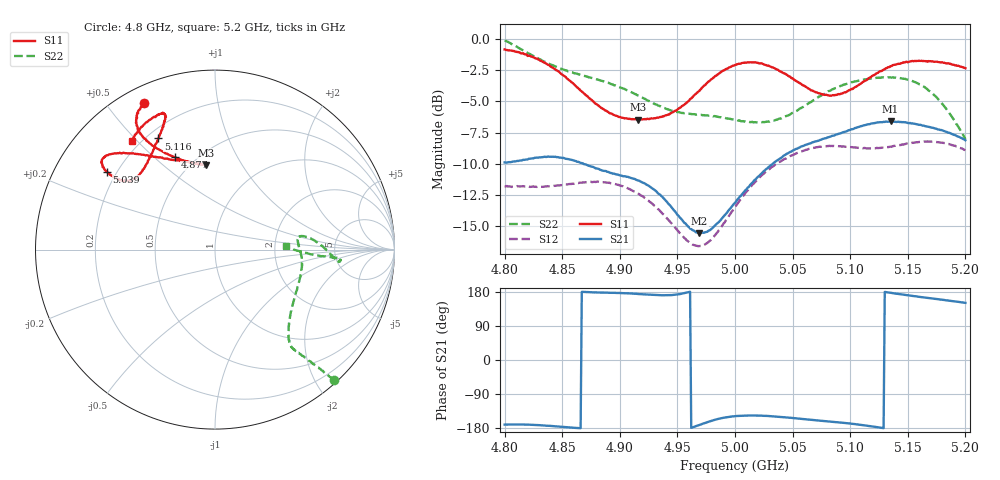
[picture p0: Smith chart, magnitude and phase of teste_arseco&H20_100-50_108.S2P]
! Network Analyzer HP8722D
! Hewlett-Packard
! Data name: Linha & Wilkinson
! Saver's name: Rodrigo Anjos
! Comments: Teste da utilização de aquisição
! continua pelo VNA HP8722D
! Time and date: 6/5/2025 13:28
!  Frequency  S11  S21  S12  S22
# HZ  S  MA R 50
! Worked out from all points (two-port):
!   401 points, 4.8 GHz to 5.2 GHz, reference 50 ohm
!   highest |S21| = -6.60 dB at 5.135 GHz (marker M1); lowest = -15.5 dB at 4.969 GHz (marker M2)
!   |S21| within 3 dB of the highest: 4.822 GHz to 4.853 GHz (30.76 MHz wide, 0.636 % of centre); 5.039 GHz to end of sweep (the widest 2 of 3)
!   lowest |S11| = -6.5 dB at 4.916 GHz (marker M3), VSWR 2.81, Z = 29.2 + j35.5 ohm
!   |S11| at or under -10 dB: nowhere
!   |S22| runs from -8.0 to -0.1 dB; largest |S21 - S12| = 0.83
!   S11 on the Smith chart (normalised r, x): 4.8 GHz: 0.07, +0.62; 4.877 GHz: 0.39, +0.59; 5.039 GHz: 0.16, +0.31; 5.116 GHz: 0.24, +0.59; 5.2 GHz: 0.17, +0.48
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4.8e9  0.9059 115.9  0.3202 -170.6  0.2572 -86.1  0.9844 -47.6
4.818e9  0.8658 120.2  0.3285 -170.3  0.257 -82.0  0.8879 -48.5
4.836e9  0.7964 122.7  0.3365 -173.1  0.2567 -76.3  0.8046 -49.8
4.867e9  0.6155 117.9  0.3183 179.8  0.2658 -67.4  0.7151 -51.6
4.877e9  0.5615 113.4  0.307 178.6  0.2675 -66.3  0.6945 -51.9
4.9e9  0.4867 101.3  0.2846 176.9  0.259 -66.6  0.6393 -50.2
4.916e9  0.4744 96.2  0.2711 174.1  0.2401 -68.3  0.5924 -46.0
4.934e9  0.4847 99.1  0.2393 171.1  0.2072 -69.6  0.5392 -37.5
4.949e9  0.5162 108.7  0.2009 172.7  0.1737 -66.1  0.5103 -27.9
4.969e9  0.6187 123.3  0.167 -171.5  0.1482 -47.9  0.4975 -15.1
4.981e9  0.6969 130.0  0.1761 -159.2  0.1608 -33.9  0.4895 -8.9
5e9  0.7856 137.3  0.2207 -148.3  0.2126 -21.4  0.4734 -0.3
5.018e9  0.8035 141.7  0.2742 -146.5  0.2693 -18.3  0.4634 5.7
5.039e9  0.7411 144.3  0.3317 -149.9  0.3225 -18.4  0.4798 8.9
5.067e9  0.6209 142.1  0.3851 -158.0  0.3656 -20.6  0.5635 4.5
5.089e9  0.5982 132.3  0.4152 -164.2  0.3721 -23.9  0.6391 -2.0
5.116e9  0.6952 117.1  0.455 -174.2  0.3646 -26.9  0.6912 -5.4
5.134e9  0.7702 111.3  0.4663 177.9  0.3694 -28.8  0.7007 -4.8
5.135e9  0.7765 111.1  0.468 177.4  0.3703 -28.7  0.7003 -4.7
5.164e9  0.8147 113.3  0.4494 165.1  0.3881 -36.0  0.6432 -3.7
5.181e9  0.8016 119.4  0.4282 158.5  0.3832 -41.3  0.5417 -2.9
5.2e9  0.7626 127.4  0.3927 150.8  0.3585 -46.4  0.3972 2.5
